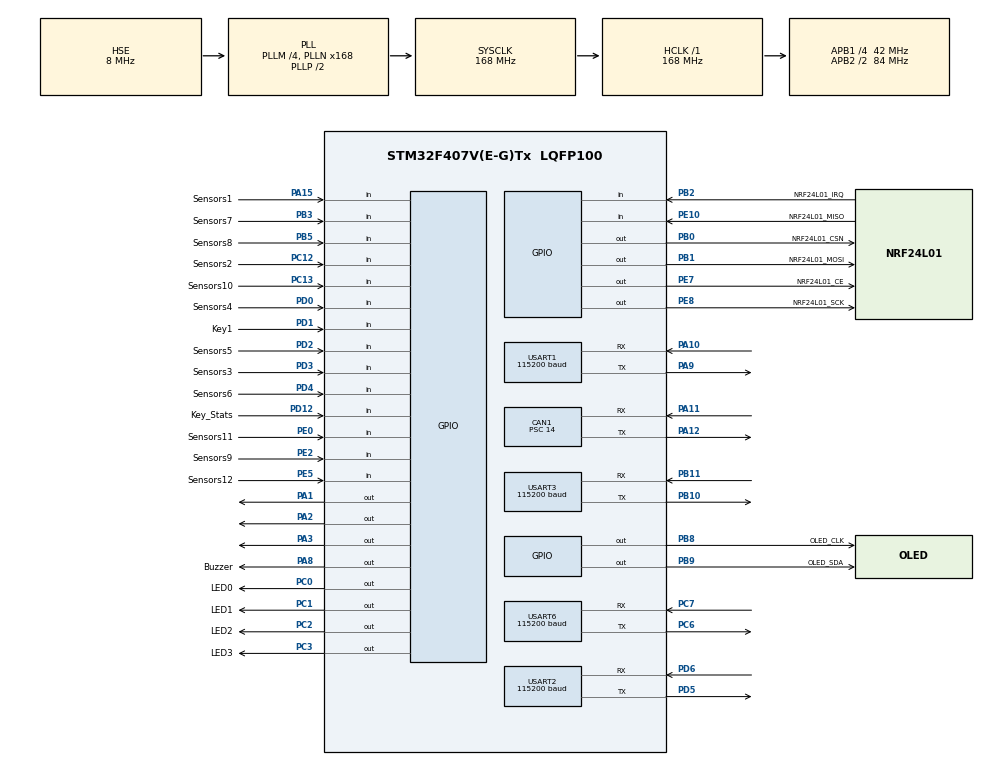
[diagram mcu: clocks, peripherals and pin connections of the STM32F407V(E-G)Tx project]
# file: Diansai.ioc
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CAN1.BS1=CAN_BS1_4TQ
CAN1.CalculateBaudRate=499999
CAN1.CalculateTimeBit=2000
CAN1.CalculateTimeQuantum=333.33333333333337
CAN1.Prescaler=14
Dma.MEMTOMEM.0.Direction=DMA_MEMORY_TO_MEMORY
Dma.MEMTOMEM.0.FIFOMode=DMA_FIFOMODE_ENABLE
Dma.MEMTOMEM.0.FIFOThreshold=DMA_FIFO_THRESHOLD_FULL
Dma.MEMTOMEM.0.Instance=DMA2_Stream1
Dma.MEMTOMEM.0.MemBurst=DMA_MBURST_SINGLE
Dma.MEMTOMEM.0.MemDataAlignment=DMA_MDATAALIGN_BYTE
Dma.MEMTOMEM.0.MemInc=DMA_MINC_ENABLE
Dma.MEMTOMEM.0.Mode=DMA_NORMAL
Dma.MEMTOMEM.0.PeriphBurst=DMA_PBURST_SINGLE
Dma.MEMTOMEM.0.PeriphDataAlignment=DMA_PDATAALIGN_BYTE
Dma.MEMTOMEM.0.PeriphInc=DMA_PINC_ENABLE
Dma.MEMTOMEM.0.Priority=DMA_PRIORITY_LOW
Dma.Request0=MEMTOMEM
Dma.Request1=USART2_RX
Dma.Request2=USART2_TX
Dma.Request3=USART3_TX
Dma.Request4=USART3_RX
Dma.USART2_RX.1.Direction=DMA_PERIPH_TO_MEMORY
Dma.USART2_RX.1.FIFOMode=DMA_FIFOMODE_DISABLE
Dma.USART2_RX.1.Instance=DMA1_Stream5
Dma.USART2_RX.1.MemDataAlignment=DMA_MDATAALIGN_BYTE
Dma.USART2_RX.1.MemInc=DMA_MINC_ENABLE
Dma.USART2_RX.1.Mode=DMA_NORMAL
Dma.USART2_RX.1.PeriphDataAlignment=DMA_PDATAALIGN_BYTE
Dma.USART2_RX.1.PeriphInc=DMA_PINC_DISABLE
Dma.USART2_RX.1.Priority=DMA_PRIORITY_LOW
Dma.USART2_TX.2.Direction=DMA_MEMORY_TO_PERIPH
Dma.USART2_TX.2.FIFOMode=DMA_FIFOMODE_DISABLE
Dma.USART2_TX.2.Instance=DMA1_Stream6
Dma.USART2_TX.2.MemDataAlignment=DMA_MDATAALIGN_BYTE
Dma.USART2_TX.2.MemInc=DMA_MINC_ENABLE
Dma.USART2_TX.2.Mode=DMA_NORMAL
Dma.USART2_TX.2.PeriphDataAlignment=DMA_PDATAALIGN_BYTE
Dma.USART2_TX.2.PeriphInc=DMA_PINC_DISABLE
Dma.USART2_TX.2.Priority=DMA_PRIORITY_LOW
Dma.USART3_RX.4.Direction=DMA_PERIPH_TO_MEMORY
Dma.USART3_RX.4.FIFOMode=DMA_FIFOMODE_DISABLE
Dma.USART3_RX.4.Instance=DMA1_Stream1
Dma.USART3_RX.4.MemDataAlignment=DMA_MDATAALIGN_BYTE
Dma.USART3_RX.4.MemInc=DMA_MINC_ENABLE
Dma.USART3_RX.4.Mode=DMA_NORMAL
Dma.USART3_RX.4.PeriphDataAlignment=DMA_PDATAALIGN_BYTE
Dma.USART3_RX.4.PeriphInc=DMA_PINC_DISABLE
Dma.USART3_RX.4.Priority=DMA_PRIORITY_LOW
Dma.USART3_TX.3.Direction=DMA_MEMORY_TO_PERIPH
Dma.USART3_TX.3.FIFOMode=DMA_FIFOMODE_DISABLE
Dma.USART3_TX.3.Instance=DMA1_Stream3
Dma.USART3_TX.3.MemDataAlignment=DMA_MDATAALIGN_BYTE
Dma.USART3_TX.3.MemInc=DMA_MINC_ENABLE
Dma.USART3_TX.3.Mode=DMA_NORMAL
Dma.USART3_TX.3.PeriphDataAlignment=DMA_PDATAALIGN_BYTE
Dma.USART3_TX.3.PeriphInc=DMA_PINC_DISABLE
Dma.USART3_TX.3.Priority=DMA_PRIORITY_LOW
Mcu.Family=STM32F4
Mcu.Name=STM32F407V(E-G)Tx
Mcu.Package=LQFP100
NVIC.CAN1_RX0_IRQn=true\:0\:0\:false\:false\:true\:true\:true\:true
NVIC.DMA1_Stream1_IRQn=true\:0\:0\:false\:false\:true\:false\:true\:true
NVIC.DMA1_Stream3_IRQn=true\:0\:0\:false\:false\:true\:false\:true\:true
NVIC.DMA1_Stream5_IRQn=true\:0\:0\:false\:false\:true\:false\:true\:true
NVIC.DMA1_Stream6_IRQn=true\:0\:0\:false\:false\:true\:false\:true\:true
NVIC.PriorityGroup=NVIC_PRIORITYGROUP_4
NVIC.TIM6_DAC_IRQn=true\:0\:0\:false\:false\:true\:true\:true\:true
NVIC.USART1_IRQn=true\:0\:0\:false\:false\:true\:true\:true\:true
NVIC.USART2_IRQn=true\:0\:0\:true\:false\:true\:true\:true\:true
NVIC.USART3_IRQn=true\:0\:0\:false\:false\:true\:true\:true\:true
NVIC.USART6_IRQn=true\:0\:0\:false\:false\:true\:true\:true\:true
PA1.Signal=GPIO_Output
PA10.Mode=Asynchronous
PA10.Signal=USART1_RX
PA11.Mode=CAN_Activate
PA11.Signal=CAN1_RX
PA12.Mode=CAN_Activate
PA12.Signal=CAN1_TX
PA13.Mode=Serial_Wire
PA13.Signal=SYS_JTMS-SWDIO
PA14.Mode=Serial_Wire
PA14.Signal=SYS_JTCK-SWCLK
PA15.GPIO_Label=Sensors1
PA15.Signal=GPIO_Input
PA2.Signal=GPIO_Output
PA3.Signal=GPIO_Output
PA8.GPIO_Label=Buzzer
PA8.GPIO_Speed=GPIO_SPEED_FREQ_HIGH
PA8.PinState=GPIO_PIN_RESET
PA8.Signal=GPIO_Output
PA9.Mode=Asynchronous
PA9.Signal=USART1_TX
PB0.GPIO_Label=NRF24L01_CSN
PB0.GPIO_Speed=GPIO_SPEED_FREQ_HIGH
PB0.PinState=GPIO_PIN_SET
PB0.Signal=GPIO_Output
PB1.GPIO_Label=NRF24L01_MOSI
PB1.GPIO_Speed=GPIO_SPEED_FREQ_HIGH
PB1.PinState=GPIO_PIN_SET
PB1.Signal=GPIO_Output
PB10.Mode=Asynchronous
PB10.Signal=USART3_TX
PB11.Mode=Asynchronous
PB11.Signal=USART3_RX
PB2.GPIO_Label=NRF24L01_IRQ
PB2.Signal=GPIO_Input
PB3.GPIO_Label=Sensors7
PB3.Signal=GPIO_Input
PB5.GPIO_Label=Sensors8
PB5.Signal=GPIO_Input
PB8.GPIO_Label=OLED_CLK
PB8.GPIO_ModeDefaultOutputPP=GPIO_MODE_OUTPUT_OD
PB8.GPIO_PuPd=GPIO_NOPULL
PB8.GPIO_Speed=GPIO_SPEED_FREQ_HIGH
PB8.Signal=GPIO_Output
PB9.GPIO_Label=OLED_SDA
PB9.GPIO_ModeDefaultOutputPP=GPIO_MODE_OUTPUT_OD
PB9.GPIO_PuPd=GPIO_NOPULL
PB9.GPIO_Speed=GPIO_SPEED_FREQ_HIGH
PB9.Signal=GPIO_Output
PC0.GPIO_Label=LED0
PC0.GPIO_Speed=GPIO_SPEED_FREQ_HIGH
PC0.PinState=GPIO_PIN_SET
PC0.Signal=GPIO_Output
PC1.GPIO_Label=LED1
PC1.Signal=GPIO_Output
PC12.GPIO_Label=Sensors2
PC12.Signal=GPIO_Input
PC13-ANTI_TAMP.GPIO_Label=Sensors10
PC13-ANTI_TAMP.Signal=GPIO_Input
PC2.GPIO_Label=LED2
PC2.GPIO_Speed=GPIO_SPEED_FREQ_HIGH
PC2.PinState=GPIO_PIN_SET
PC2.Signal=GPIO_Output
PC3.GPIO_Label=LED3
PC3.GPIO_Speed=GPIO_SPEED_FREQ_HIGH
PC3.PinState=GPIO_PIN_SET
PC3.Signal=GPIO_Output
PC6.Mode=Asynchronous
PC6.Signal=USART6_TX
PC7.Mode=Asynchronous
PC7.Signal=USART6_RX
PD0.GPIO_Label=Sensors4
PD0.Signal=GPIO_Input
PD1.GPIO_Label=Key1
PD1.GPIO_PuPd=GPIO_PULLUP
PD1.Signal=GPIO_Input
PD12.GPIO_Label=Key_Stats
PD12.GPIO_PuPd=GPIO_PULLUP
PD12.Signal=GPIO_Input
PD2.GPIO_Label=Sensors5
PD2.Signal=GPIO_Input
PD3.GPIO_Label=Sensors3
PD3.Signal=GPIO_Input
PD4.GPIO_Label=Sensors6
PD4.Signal=GPIO_Input
PD5.Mode=Asynchronous
PD5.Signal=USART2_TX
PD6.Mode=Asynchronous
PD6.Signal=USART2_RX
PE0.GPIO_Label=Sensors11
PE0.Signal=GPIO_Input
PE10.GPIO_Label=NRF24L01_MISO
PE10.Signal=GPIO_Input
PE2.GPIO_Label=Sensors9
PE2.Signal=GPIO_Input
PE5.GPIO_Label=Sensors12
PE5.Signal=GPIO_Input
PE7.GPIO_Label=NRF24L01_CE
PE7.GPIO_Speed=GPIO_SPEED_FREQ_HIGH
PE7.PinState=GPIO_PIN_SET
PE7.Signal=GPIO_Output
PE8.GPIO_Label=NRF24L01_SCK
PE8.GPIO_Speed=GPIO_SPEED_FREQ_HIGH
PE8.PinState=GPIO_PIN_SET
PE8.Signal=GPIO_Output
PH0-OSC_IN.Mode=HSE-External-Oscillator
PH0-OSC_IN.Signal=RCC_OSC_IN
PH1-OSC_OUT.Mode=HSE-External-Oscillator
PH1-OSC_OUT.Signal=RCC_OSC_OUT
ProjectManager.HeapSize=0x200
ProjectManager.StackSize=0x400
ProjectManager.TargetToolchain=MDK-ARM V5.32
RCC.48MHZClocksFreq_Value=84000000
RCC.AHBFreq_Value=168000000
RCC.APB1CLKDivider=RCC_HCLK_DIV4
RCC.APB1Freq_Value=42000000
RCC.APB1TimFreq_Value=84000000
RCC.APB2CLKDivider=RCC_HCLK_DIV2
RCC.APB2Freq_Value=84000000
RCC.APB2TimFreq_Value=168000000
RCC.CortexFreq_Value=168000000
RCC.HCLKFreq_Value=168000000
RCC.HSE_VALUE=8000000
RCC.HSI_VALUE=16000000
RCC.LSE_VALUE=32768
RCC.PLLM=4
RCC.PLLN=168
RCC.PLLSourceVirtual=RCC_PLLSOURCE_HSE
RCC.SYSCLKFreq_VALUE=168000000
RCC.SYSCLKSource=RCC_SYSCLKSOURCE_PLLCLK
RCC.VCOOutputFreq_Value=336000000
TIM14.Prescaler=84-1
TIM6.Period=1000-1
TIM6.Prescaler=84-1
TIM7.Period=65535
TIM7.Prescaler=84-1
USART1.BaudRate=115200
USART1.VirtualMode=VM_ASYNC
USART2.BaudRate=115200
USART2.VirtualMode=VM_ASYNC
USART3.BaudRate=115200
USART3.VirtualMode=VM_ASYNC
USART6.BaudRate=115200
USART6.VirtualMode=VM_ASYNC
VP_TIM14_VS_ClockSourceINT.Mode=Enable_Timer
VP_TIM6_VS_ClockSourceINT.Mode=Enable_Timer
VP_TIM7_VS_ClockSourceINT.Mode=Enable_Timer
board=custom

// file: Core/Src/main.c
/* USER CODE BEGIN Header */
/**
  ******************************************************************************
  * @file           : main.c
  * @brief          : 2025 电赛 · 视觉追踪激光云台主程序（STM32F407VET6 / 168 MHz）
  ******************************************************************************
  * @details
  *   【工程定位】系统入口与调度核心：视觉坐标 -> PID -> CAN 闭环步进电机 -> 云台指向。
  *
  *   【外设分工】
  *     - USART3 (PB10/PB11, 115200) + DMA1_Stream1 + IDLE 中断：接收 MaixCAM 的
  *       目标像素坐标，ASCII 协议 "x<数字>y<数字>"，如 "x170y115"；
  *       x=640 & y=480 是约定好的“丢失目标”哨兵值。
  *     - CAN1 (PA11/PA12, 500 kbps, 扩展帧)：挂 Emm_V5（张大头）闭环步进驱动器。
  *       ID1 = 云台水平轴、ID2 = 云台俯仰轴；ID3/ID4 底盘、ID5 机械臂为预留。
  *     - USART1 (K230 扫码) / USART2 (K230 色旗识别) / USART4 (串口屏)：预留未启用。
  *     - USART6 (HWT101 陀螺仪)：驱动与解析已写好，但本版未开启接收中断，Yaw 恒为 0。
  *     - TIM6：1 ms 节拍。每 10 次（10 ms）跑一次云台 PID，同时驱动
  *       LED_Tick / Buzzer_Tick / Key_Tick / Buzzer_scan。
  *     - TIM7 / TIM14：微秒级延时（delaynus，OLED 软件 I2C 用）。
  *
  *   【主循环】
  *     清计数 -> MaixCAM_data_manage()（解析 DMA 缓冲并重启 DMA）
  *     -> Key_GetNum() 取按键 -> 按键 3 在 KM2/KM3/KM4 三种策略间轮换
  *     -> 执行对应策略 -> OLED 显示坐标。
  *
  *   【三种追踪策略】（见 System/Subject.c）
  *     KM2：只追 x 轴（目标 170），x 落在 165~175 时开激光；
  *     KM3：x、y 双轴（目标 170 / 118），并支持“先回零再左/右转”扫图；
  *     KM4：x、y 双轴（目标 170 / 115），纯追踪不扫图。
  *
  *   【控制链】
  *     Cloud_platform_PID_Scan()（10 ms 一次）读取 X3Temp/Y3Temp，
  *     与目标像素做增量式 PID，输出速度 -> cloud_platformSpeed()
  *     -> cloud_platformSpeed() 用 Emm_V5_Vel_Control 经 CAN 下发，并阻塞等待回帧。
  *
  * @warning
  *   1. USART3 的 IDLE 中断里重启 DMA 用的是 16 字节（见 stm32f4xx_it.c），
  *      而 main / Serial2 用的是 256 字节；一帧超过 16 字节时会被截断，
  *      改协议长度时两处必须同时改。
  *   2. Emm_V5 的速度控制函数里有 while(can.rxFrameFlag == false) 忙等，
  *      主频/总线异常时会死等；调试时若“停在这里”，先查 CAN 终端电阻与波特率。
  *   3. 本文件由 STM32CubeMX 生成，手写代码请夹在成对的 USER CODE 标记区之间，
  *      否则重新生成 .ioc 时会被覆盖。
  ******************************************************************************
  * @attention
  *
  * Copyright (c) 2025 STMicroelectronics.
  * All rights reserved.
  *
  * This software is licensed under terms that can be found in the LICENSE file
  * in the root directory of this software component.
  * If no LICENSE file comes with this software, it is provided AS-IS.
  *
  ******************************************************************************
  */
/* USER CODE END Header */
#include "main.h"
#include "can.h"
#include "dma.h"
#include "tim.h"
#include "usart.h"
#include "gpio.h"

/* USER CODE BEGIN Includes */

/* CubeMX 生成的外设头文件（可由 .ioc 重新生成） */
#include "can.h"
#include "HWT101.h"
#include "Emm_V5.h"
#include "motor.h"
#include "chassis_behaviour.h"
#include "stm32f4xx_it.h"
/* 手写模块：显示 / 人机 / 通信 / 云台 / 科目策略 */
#include "OLED.h"
#include "Key.h"
#include "LED.h"
#include "BUZZER.h"
#include "Serial.h"
#include "Serial2.h"
#include "HWT101.h"
#include <stdint.h>
#include <stdlib.h>
#include <stdio.h>
#include <string.h>
#include "Dloud_deck.h"
#include "Subject.h"

/* USER CODE END Includes */

/* USER CODE BEGIN PTD */

#define usart2_rece_sizeof	5		/* 旧版 USART2 单帧长度（当前未使用，保留以兼容早期代码） */

/* USER CODE END PTD */

/* USER CODE BEGIN PM */

float num;							/* 通用浮点调试量（当前未被使用） */
uint8_t flag;						/* 1 Hz 翻转标志，用于观察主循环/中断是否存活 */

/* USER CODE END PM */

void SystemClock_Config(void);

/* USER CODE BEGIN 0 */

/* 串口接收标志：1 = 对应的 RxCplt 回调刚取到一帧（当前未被消费，保留） */
uint8_t interr_flag = 0 ;

/*----------------------------------------------------------------------------
 * 串口收发缓冲区
 *   每个串口一对：rece 供中断/DMA 写入，send 供组包后一次性发出。
 *   128 字节是“够用且不浪费 RAM”的经验值；MaixCAM 帧很短，实际只用到前几字节。
 *   usart4 对应串口屏（本版未接），usart6 为 HWT101 单字节接收。
 *----------------------------------------------------------------------------*/
uint8_t usart1_rece[128] = {0};
char usart1_send[128] = {0};
uint8_t usart2_rece[128] = {0};
char usart2_send[128] = {0};
uint8_t usart3_rece[128] = {0};		/* MaixCAM 备用中断接收区（主链路走 DMA） */
char usart3_send[128] = {0};
uint8_t usart4_rece[128] = {0};
char usart4_send[128] = {0};
uint8_t usart6_rece[128] = {0};
//char usart6_send[128] = {0};
uint8_t g_usart6_receivedata = 0;	/* HWT101 逐字节接收缓存（接收中断未开启，故恒为 0） */

uint8_t RxData[20];					/* 备用原始帧缓存 */

uint8_t num1,num2,num3,num4;		/* 各链路的“收到过多少帧”计数，num2 显示在 OLED 第 1 行 */

uint8_t usart1_receivedata;			/* 旧版 K230 单字节接收变量 */
uint8_t usart2_receivedata;

/* 当前科目策略索引：0=KM2、1=KM3、2=KM4（按键 3 循环切换） */
uint8_t Key_mode;

/* USER CODE END 0 */

int main(void)
{

  /* MCU Configuration--------------------------------------------------------*/

  /* Reset of all peripherals, Initializes the Flash interface and the Systick. */
  HAL_Init();

  /* Configure the system clock */
  SystemClock_Config();

  /* Initialize all configured peripherals */
  /* 注意：MX_DMA_Init 必须在各 UART/CAN 初始化之前调用，
   * 否则 DMA 时钟未开、句柄未挂接，后续 Receive_DMA 会返回 HAL_ERROR */
  MX_GPIO_Init();
  MX_DMA_Init();
  MX_CAN1_Init();
  MX_USART1_UART_Init();
  MX_USART2_UART_Init();
  MX_USART3_UART_Init();
  MX_USART6_UART_Init();
  MX_TIM14_Init();
  MX_TIM7_Init();
  MX_TIM6_Init();
  /* USER CODE BEGIN 2 */
	/* 应用层初始化：先“能显示、能响、能算”，再打通通信链路 */
	LED_Init();				/* 三路 LED + 激光使能脚全部拉到熄灭状态 */
	OLED_Init();			/* OLED 上电初始化，用于后续所有调试显示 */
	Buzzer_Init();

	Cloud_platform_PID_Init();	/* 云台 x/y 三套 PID 参数初始化（增量式） */

//	OLED_ShowString(1,1,"Hello World!");

	/* CAN 链路：滤波器 -> 启动 -> 打开 RX0 中断通知 */
	USER_CAN1_Filter_Init();	/* 32 位掩码全 0，即“接收所有扩展帧” */
	if(HAL_CAN_Start(&hcan1) != HAL_OK) { Error_Handler(); }	/* 启动 CAN 控制器 */
	if(HAL_CAN_ActivateNotification(&hcan1, CAN_IT_RX_FIFO0_MSG_PENDING) != HAL_OK) { Error_Handler(); }	/* 使能 FIFO0 非空中断 */

	/* 视觉链路：DMA + IDLE 中断“不定长接收”
	 * 思路：DMA 一直往 buffer3 里填，总线空闲（IDLE）时用剩余计数算出本帧长度。
	 * 长度 256 必须与 Serial2.c 中的重启长度一致。 */
//	HAL_UART_Receive_IT(&huart1,usart1_rece,4);//旧版一击扫码，四字节固定帧

//	HAL_UART_Receive_DMA(&huart2,buffer,16);
//	__HAL_UART_ENABLE_IT(&huart2,UART_IT_IDLE);//旧版第二路 K230 识别小旗

	HAL_UART_Receive_DMA(&huart3,buffer3,256);
	__HAL_UART_ENABLE_IT(&huart3,UART_IT_IDLE);//MaixCAM 识别主链路

	/* 控制节拍：TIM6 每 1 ms 进一次中断，回调里再分频到 10 ms 跑 PID */
	HAL_TIM_Base_Start_IT(&htim6);	/* 启动定时器 6 并开中断 */
	Jiguang_OFF();					/* 上电确保激光关闭（安全要求） */

//	Emm_V5_Origin_Modify_Params(2, true, 0, 0, 80, 200, 100, 100, 100, false);

//	cloud_platform(3200,3200);

//	Emm_V5_Origin_Set_O(1, 1);//设置单圈回零的零点位置
//	HAL_Delay(15);
//	Emm_V5_Origin_Trigger_Return(2,0,0);
//	HAL_Delay(15);
//	Emm_V5_Origin_Set_O(2, 1);//设置单圈回零的零点位置
//	HAL_Delay(15);
//	Emm_V5_Origin_Trigger_Return(2,0,0);
//	HAL_Delay(15);
  /* USER CODE END 2 */

  /* Infinite loop */
  /* USER CODE BEGIN WHILE */
  while (1)
  {

	  /* 主循环心跳：num2 递增显示在 OLED 第 1 行第 1 列，数值不动就说明主循环卡死 */
		num2 ++;
		OLED_ShowNum(1,1,num2,5);

		MaixCAM_data_manage();	/* 解析 DMA 缓冲里的 "x..y.."，解析完清零并重启 DMA */

		KeyNum=Key_GetNum();	/* 读并清除按键事件（由 1 ms 中断里的 Key_Tick 产生） */
		if(KeyNum == 3)			/* 按键 3 = 切换科目策略 */
		{
			KeyNum = 0;
			Key_mode++;
			Key_mode%=3;
		}
		switch (Key_mode)
		{
			case 0:
			{
				OLED_ShowString(1,8,"KM2");	/* 第 1 行第 8 列显示当前策略 */
				KM2();
			}
			break;
			case 1:
			{
				OLED_ShowString(1,8,"KM3");
				KM3();
			}
			break;
			case 2:
			{
				OLED_ShowString(1,8,"KM4");
				KM4();
			}
		break;
		}

		/* 调试显示：第 2 行 = 目标 x 像素，第 3 行 = 目标 y 像素（640/480 表示丢目标） */
		OLED_ShowNum(2,1,X3Temp,5);
		OLED_ShowNum(3,1,Y3Temp,5);

//		OLED_ShowSignedNum(4,1,T_Cloud_platform_Speedresultx,3);
//		OLED_ShowSignedNum(4,8,T_Cloud_platform_Speedresulty,3);

    /* USER CODE END WHILE */

  }
}

/**
  * @brief  系统时钟配置：HSE 8 MHz -> PLL -> SYSCLK 168 MHz
  * @note   PLL: 8 MHz / M(4) = 2 MHz -> * N(168) = 336 MHz -> / P(2) = 168 MHz；
  *         APB1 = 42 MHz（CAN/串口 2~6 挂这里，CAN 的 500 kbps 就是按 42 MHz 算的），
  *         APB2 = 84 MHz（串口 1/6、SPI 等）。
  *         改了主频，必须先重算 CAN 分频与各串口的 BRR，否则通信会静默失效。
  */
void SystemClock_Config(void)
{
  RCC_OscInitTypeDef RCC_OscInitStruct = {0};
  RCC_ClkInitTypeDef RCC_ClkInitStruct = {0};

  /** Configure the main internal regulator output voltage
  */
  __HAL_RCC_PWR_CLK_ENABLE();
  __HAL_PWR_VOLTAGESCALING_CONFIG(PWR_REGULATOR_VOLTAGE_SCALE1);

  /** Initializes the RCC Oscillators according to the specified parameters
  * in the RCC_OscInitTypeDef structure.
  */
  RCC_OscInitStruct.OscillatorType = RCC_OSCILLATORTYPE_HSE;
  RCC_OscInitStruct.HSEState = RCC_HSE_ON;
  RCC_OscInitStruct.PLL.PLLState = RCC_PLL_ON;
  RCC_OscInitStruct.PLL.PLLSource = RCC_PLLSOURCE_HSE;
  RCC_OscInitStruct.PLL.PLLM = 4;
  RCC_OscInitStruct.PLL.PLLN = 168;
  RCC_OscInitStruct.PLL.PLLP = RCC_PLLP_DIV2;
  RCC_OscInitStruct.PLL.PLLQ = 4;
  if (HAL_RCC_OscConfig(&RCC_OscInitStruct) != HAL_OK)
  {
    Error_Handler();
  }

  /** Initializes the CPU, AHB and APB buses clocks
  */
  RCC_ClkInitStruct.ClockType = RCC_CLOCKTYPE_HCLK|RCC_CLOCKTYPE_SYSCLK
                              |RCC_CLOCKTYPE_PCLK1|RCC_CLOCKTYPE_PCLK2;
  RCC_ClkInitStruct.SYSCLKSource = RCC_SYSCLKSOURCE_PLLCLK;
  RCC_ClkInitStruct.AHBCLKDivider = RCC_SYSCLK_DIV1;
  RCC_ClkInitStruct.APB1CLKDivider = RCC_HCLK_DIV4;
  RCC_ClkInitStruct.APB2CLKDivider = RCC_HCLK_DIV2;

  if (HAL_RCC_ClockConfig(&RCC_ClkInitStruct, FLASH_LATENCY_5) != HAL_OK)
  {
    Error_Handler();
  }
}

/* USER CODE BEGIN 4 */

/**
  * @brief  TIM6 周期中断回调（1 ms 一次）：软件定时任务分发中心
  * @note   这里的 10 / 1000 分频都是“按 1 ms 节拍数”实现的软件定时器：
  *         - 每 10 ms：一次云台 PID；
  *         - 每 1000 ms：flag 翻转（心跳/调试用）；
  *         - 每 1 ms：LED 呼吸/闪烁、蜂鸣器定时、按键 20 ms 消抖扫描。
  *         中断里不要放 HAL_Delay 或串口打印，否则会把 1 ms 节拍拉长。
  */
void HAL_TIM_PeriodElapsedCallback(TIM_HandleTypeDef *htim)
{
	static uint16_t T0time = 0,T1time = 0;
	if(htim==&htim6)
	{
		T0time++;
		if(T0time>=10)			/* 10 ms：控制周期 */
		{
			T0time = 0;
			Cloud_platform_PID_Scan();
		}
		T1time++;
		if(T1time>=1000)		/* 1 s：心跳标志翻转 */
		{
			T1time = 0;
			flag=!flag;
		}

		LED_Tick();
		Buzzer_Tick();
		Key_Tick();
		Buzzer_scan();
	}
 }

/**
  * @brief  串口接收完成回调（仅中断式接收会进入，DMA 接收走 IDLE 中断）
  * @note   huart1 是 K230 扫码（4 字节定长帧），huart3 是 MaixCAM 的备用中断通道；
  *         huart6 为 HWT101 逐字节接收，但启动接收的语句被注释，
  *         所以当前 Yaw 恒为 0，云台也就没有“绝对角度”闭环。
  */
void HAL_UART_RxCpltCallback(UART_HandleTypeDef *huart)
{
	if( huart == &huart1)/* 串口 1 中断源：K230 扫码，当前接收未开启 */
    {
//		K230_QuickMark_Receive(usart1_rece[0],0);	//解析 K230 的维码识别结果
//		K230_QuickMark_Receive(usart1_rece[1],1);	//解析 K230 的维码识别结果
		HAL_UART_Receive_IT(&huart1,usart1_rece,4); /* 重新打开接收中断 */
    }
	if( huart == &huart2)/* 串口 2 中断源：K230 识别色旗，当前接收未开启 */
    {
//		HAL_UART_Receive_DMA(&huart1,buffer,16);
    }
	if( huart == &huart3)/* 串口 3 中断源：MaixCAM（主链路实际走 DMA + IDLE） */
    {
		HAL_UART_Receive_IT(&huart3,usart3_rece,1);/* 重新打开接收中断 */
    }
//	if( huart == &huart4)/* 串口 4 中断源：串口屏，当前未接 */
//    {
//		HAL_UART_Receive_IT(&huart4,usart4_rece,1);/* 重新打开接收中断(目前没有接串口屏) */
//    }
	if( huart == &huart6)/* 串口 6 中断源：HWT101 陀螺仪，逐字节喂给状态机 */
    {
        HWT101_ReceiveData(g_usart6_receivedata);/*把收到的字节交给协议解析 */

//        HAL_UART_Receive_IT(&huart6,&g_usart6_receivedata,1);/* 重新打开接收中断 */
    }
}

/* USER CODE END 4 */

/**
  * @brief  错误兜底：关全局中断后死循环
  * @note   现象是“程序全停、调试器仍在线”。定位方法：在此打断点看调用栈，
  *         常见原因是 CAN/USART 初始化失败或时钟配置不对。
  */
void Error_Handler(void)
{
  __disable_irq();
  while (1)
  {
  }
}
